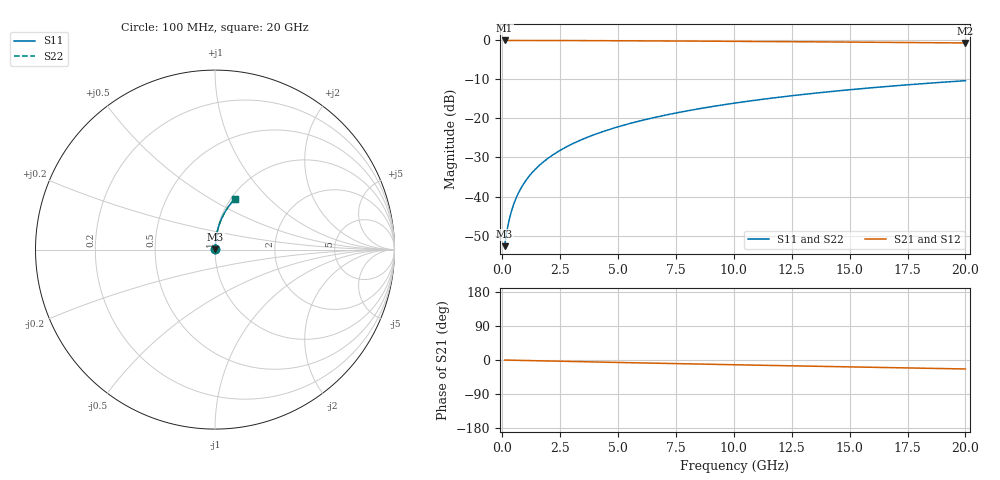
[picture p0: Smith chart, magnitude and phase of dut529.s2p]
! Touchstone file exported from HFSS 2024.1.0
!  File:  C:/UserFiles/LocalFiles/RDL_TSV_Batchsim/temp_RDL_bottom_529_1779688436.aedt
!  Generated:  01:56:32 PM May 25, 2026
!  Design:  RDL_bottom
!  Project:  temp_RDL_bottom_529_1779688436
!  Setup:  Setup1
!  Solution:  Sweep
! Variables:
!  dtsv = 10.80580581um
!  hbump = 3um
!  htsv = 62.24um
!  ldown = 253.46um
!  lrdl = 100um
!  p = 40
!  p1 = 57.83um
!  rhole = 1um
!  t = 450um
!  tdown = 4.37um
!  trdl = 3.915915916um
!  wdown = 13.29um
!  wrdl = 20um
# GHz S MA R 50.000000
! Terminal data exported
! Port[1] = RDL1_T1
! Port[2] = RDL1_T2
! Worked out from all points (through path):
!   200 points, 100 MHz to 20 GHz, reference 50 ohm
!   highest |S21| = -0.01 dB at 100 MHz (marker M1); lowest = -0.7 dB at 20 GHz (marker M2)
!   group delay of S21, straight-line fit = 3.27 ps
!   lowest |S11| = -52.7 dB at 100 MHz (marker M3), VSWR 1.00, Z = 50.2 + j0.161 ohm
!   |S11| at or under -10 dB: start of sweep to end of sweep
!   |S22| runs from -52.7 to -10.3 dB; largest |S21 - S12| = 3.3e-15
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0.1  0.002311 44.0  0.9983 -0.1  0.9983 -0.1  0.002311 44.0
! Gamma 0 0 0 0
! Port Impedance 50 0 50 0
0.2  0.003617 61.9  0.9983 -0.3  0.9983 -0.3  0.003617 61.9
0.3  0.00507 69.8  0.9982 -0.4  0.9982 -0.4  0.00507 69.8
0.4  0.006565 74.2  0.9982 -0.5  0.9982 -0.5  0.006565 74.2
0.5  0.008077 76.9  0.9981 -0.7  0.9981 -0.7  0.008077 76.9
0.6  0.009601 78.7  0.9981 -0.8  0.9981 -0.8  0.009601 78.7
0.8  0.01267 81.1  0.9979 -1.1  0.9979 -1.1  0.01267 81.1
1.1  0.0173 82.9  0.9977 -1.5  0.9977 -1.5  0.0173 82.9
1.5  0.0235 84.1  0.9973 -2.0  0.9973 -2.0  0.0235 84.1
1.8  0.02816 84.6  0.997 -2.4  0.997 -2.4  0.02816 84.6
2.1  0.03282 84.8  0.9966 -2.8  0.9966 -2.8  0.03282 84.8
2.7  0.04217 85.0  0.9956 -3.6  0.9956 -3.6  0.04217 85.0
3.5  0.05465 84.8  0.994 -4.6  0.994 -4.6  0.05465 84.8
4.2  0.0656 84.5  0.9923 -5.5  0.9923 -5.5  0.0656 84.5
5  0.07815 83.9  0.9902 -6.5  0.9902 -6.5  0.07815 83.9
5.9  0.0923 83.3  0.9876 -7.6  0.9876 -7.6  0.0923 83.3
6.8  0.1065 82.5  0.9847 -8.7  0.9847 -8.7  0.1065 82.5
8.3  0.1301 81.1  0.9794 -10.5  0.9794 -10.5  0.1301 81.1
10.1  0.1583 79.3  0.9726 -12.6  0.9726 -12.6  0.1583 79.3
13.4  0.2092 75.7  0.9589 -16.4  0.9589 -16.4  0.2092 75.7
16.7  0.2583 72.1  0.9438 -20.1  0.9438 -20.1  0.2583 72.1
20  0.3049 68.5  0.9274 -23.6  0.9274 -23.6  0.3049 68.5
